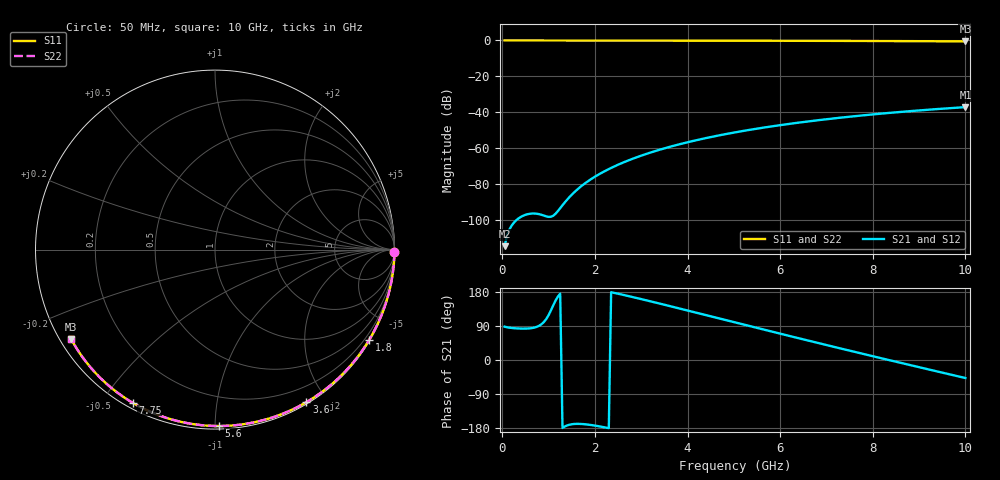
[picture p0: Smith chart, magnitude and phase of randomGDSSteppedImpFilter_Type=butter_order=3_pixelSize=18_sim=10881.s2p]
! freq	dB(S11)	phase(S11)	dB(S12)	phase(S12)
!  dB(S21)	phase(S21)	dB(S22)	phase(S22)
!S-par simulation data
#  GHz  S  DB  R 50
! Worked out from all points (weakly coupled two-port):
!   200 points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, 50 MHz to 10 GHz, reference 50 ohm
!   highest |S21| = -37.21 dB at 10 GHz (marker M1); lowest = -114.8 dB at 50 MHz (marker M2)
!   lowest |S11| = -0.5 dB at 10 GHz (marker M3), VSWR 34.51, Z = 1.57 - j14.2 ohm
!   |S11| at or under -10 dB: nowhere
!   |S22| runs from -0.5 to 0.0 dB; largest |S21 - S12| = 0
!   S11 on the Smith chart (normalised r, x): 50 MHz: open; 1.8 GHz: 0.03, -3.70; 3.6 GHz: 0.02, -1.76; 5.6 GHz: 0.02, -1.02; 7.75 GHz: 0.02, -0.60; 10 GHz: 0.03, -0.28
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0.05  -0.00 -0.9  -114.83 88.0  -114.83 88.0  -0.00 -0.9
0.45  -0.01 -7.7  -97.83 82.8  -97.83 82.8  -0.01 -7.7
0.9  -0.02 -15.3  -97.77 100.5  -97.77 100.5  -0.02 -15.3
1.75  -0.04 -29.5  -80.44 -169.2  -80.44 -169.2  -0.04 -29.5
1.8  -0.04 -30.3  -79.48 -169.7  -79.48 -169.7  -0.04 -30.3
1.95  -0.04 -32.7  -76.85 -172.1  -76.85 -172.1  -0.04 -32.7
2.1  -0.04 -35.2  -74.54 -175.1  -74.54 -175.1  -0.04 -35.2
2.3  -0.05 -38.5  -71.79 -179.9  -71.79 -179.9  -0.05 -38.5
2.5  -0.05 -41.7  -69.36 174.9  -69.36 174.9  -0.05 -41.7
2.9  -0.06 -48.1  -65.21 163.7  -65.21 163.7  -0.06 -48.1
3.4  -0.07 -56.0  -60.97 148.9  -60.97 148.9  -0.07 -56.0
3.6  -0.08 -59.1  -59.49 142.8  -59.49 142.8  -0.08 -59.1
4.3  -0.10 -69.7  -55.03 121.4  -55.03 121.4  -0.10 -69.7
5.05  -0.12 -80.8  -51.19 98.4  -51.19 98.4  -0.12 -80.8
5.6  -0.15 -88.8  -48.81 81.6  -48.81 81.6  -0.15 -88.8
6.15  -0.17 -96.5  -46.73 65.0  -46.73 65.0  -0.17 -96.5
6.7  -0.20 -104.1  -44.89 48.4  -44.89 48.4  -0.20 -104.1
7.2  -0.24 -110.9  -43.39 33.5  -43.39 33.5  -0.24 -110.9
7.75  -0.28 -118.3  -41.90 17.3  -41.90 17.3  -0.28 -118.3
8.35  -0.33 -126.3  -40.45 -0.2  -40.45 -0.2  -0.33 -126.3
9.2  -0.41 -137.5  -38.66 -24.7  -38.66 -24.7  -0.41 -137.5
10  -0.50 -148.2  -37.21 -47.6  -37.21 -47.6  -0.50 -148.2
